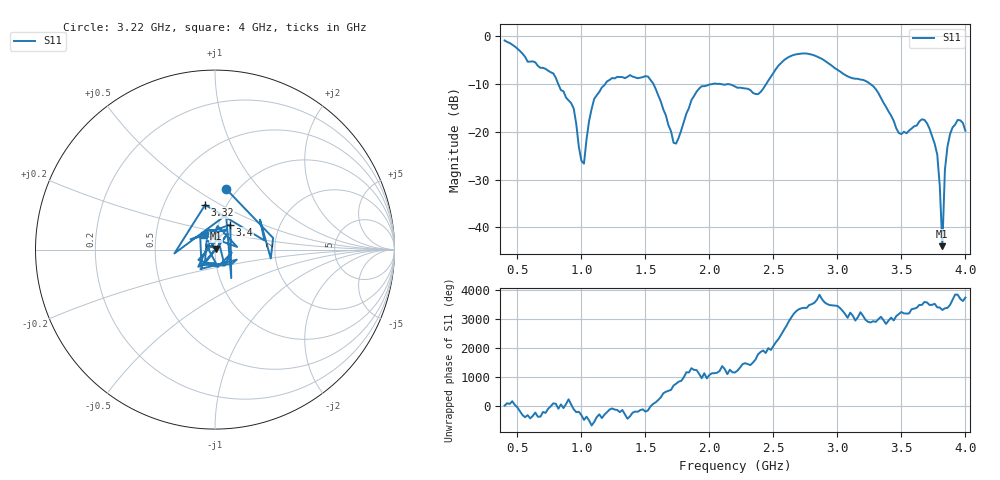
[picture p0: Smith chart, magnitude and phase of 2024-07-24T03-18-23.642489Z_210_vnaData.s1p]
!Created with skrf (http://scikit-rf.org).
# Hz S RI R 50.0
!freq ReS11 ImS11
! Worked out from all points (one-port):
!   181 points, 400 MHz to 4 GHz, reference 50 ohm
!   lowest |S11| = -44.0 dB at 3.82 GHz (marker M1), VSWR 1.01, Z = 50.3 + j0.548 ohm
!   |S11| at or under -10 dB: 819.4 MHz to 1.185 GHz (365.8 MHz wide, 36.5 % of centre); 1.563 GHz to 2.018 GHz (455.1 MHz wide, 25.4 % of centre); 3.258 GHz to end of sweep (the widest 3 of 5)
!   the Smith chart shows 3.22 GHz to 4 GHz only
!   S11 on the Smith chart (normalised r, x): 3.22 GHz: 0.89, +0.68; 3.32 GHz: 0.80, +0.42; 3.4 GHz: 1.14, +0.33; 4 GHz: 0.87, +0.14
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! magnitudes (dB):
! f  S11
! 400 MHz  -0.8
! 860 MHz  -11.5
! 940 MHz  -15.1
! 1 GHz  -26.1
! 1.02 GHz  -26.7
! 1.1 GHz  -13.1
! 1.3 GHz  -8.5
! 1.52 GHz  -8.4
! 1.72 GHz  -22.3
! 1.76 GHz  -21.2
! 1.92 GHz  -10.9
! 2.2 GHz  -10.5
! 2.38 GHz  -12.1
! 2.66 GHz  -3.9
! 3.1 GHz  -8.6
! 3.22 GHz  -9.3
! 3.32 GHz  -11.9
! 3.4 GHz  -15.7
! 3.48 GHz  -20.2
! 3.56 GHz  -19.7
! 3.68 GHz  -17.5
! 3.76 GHz  -22.5
! 3.8 GHz  -31.3
! 3.82 GHz  -44.0
! 3.84 GHz  -28.0
! 3.86 GHz  -23.1
! 3.94 GHz  -17.5
! 4 GHz  -19.8
